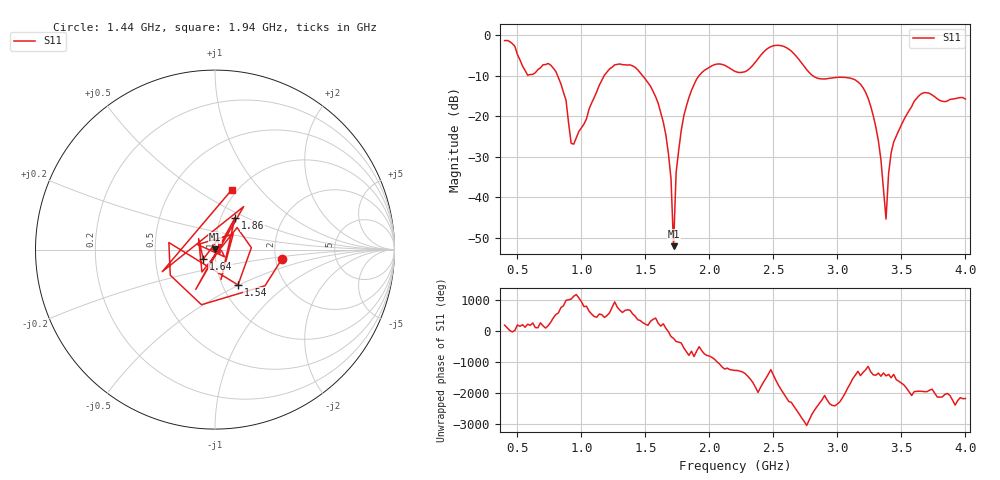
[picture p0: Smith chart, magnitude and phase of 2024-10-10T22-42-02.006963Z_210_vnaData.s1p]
! Created with skrf (http://scikit-rf.org).
# Hz S RI R 50.0
!freq ReS11 ImS11
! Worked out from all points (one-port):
!   181 points, 400 MHz to 4 GHz, reference 50 ohm
!   lowest |S11| = -52.1 dB at 1.72 GHz (marker M1), VSWR 1.00, Z = 49.9 + j0.231 ohm
!   |S11| at or under -10 dB: 814 MHz to 1.177 GHz (363.2 MHz wide, 36.5 % of centre); 1.48 GHz to 1.919 GHz (438.6 MHz wide, 25.8 % of centre); 2.809 GHz to end of sweep
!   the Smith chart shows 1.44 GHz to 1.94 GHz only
!   S11 on the Smith chart (normalised r, x): 1.44 GHz: 2.16, -0.27; 1.54 GHz: 1.18, -0.49; 1.64 GHz: 0.87, -0.09; 1.86 GHz: 1.16, +0.43; 1.94 GHz: 0.94, +0.71
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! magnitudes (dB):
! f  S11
! 400 MHz  -1.3
! 580 MHz  -9.9
! 760 MHz  -7.4
! 860 MHz  -14.1
! 940 MHz  -26.9
! 1.18 GHz  -9.8
! 1.3 GHz  -7.1
! 1.44 GHz  -8.5
! 1.54 GHz  -12.6
! 1.64 GHz  -21.5
! 1.7 GHz  -35.5
! 1.72 GHz  -52.1
! 1.74 GHz  -33.9
! 1.76 GHz  -28.4
! 1.86 GHz  -13.6
! 1.94 GHz  -9.2
! 2.2 GHz  -8.9
! 2.5 GHz  -2.6
! 2.66 GHz  -4.5
! 2.84 GHz  -10.6
! 3.1 GHz  -10.6
! 3.28 GHz  -19.9
! 3.34 GHz  -30.7
! 3.38 GHz  -45.4
! 3.42 GHz  -29.0
! 3.56 GHz  -18.6
! 3.68 GHz  -14.1
! 4 GHz  -15.8
